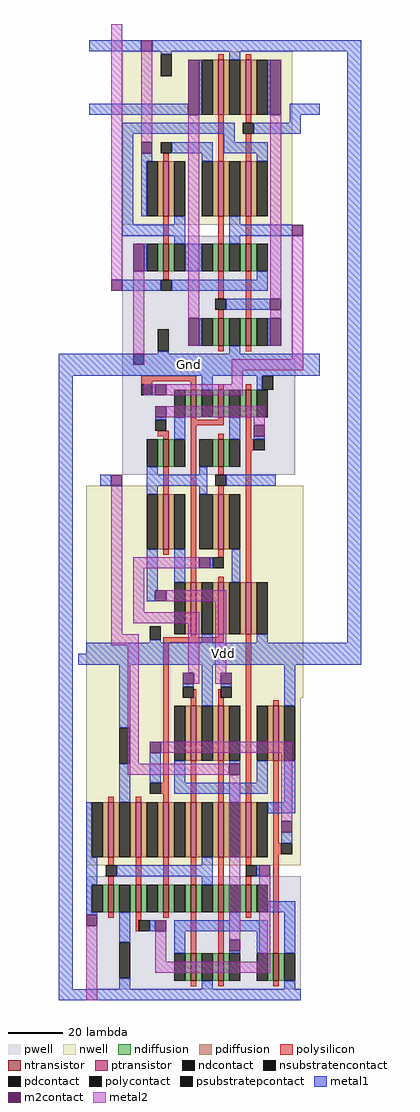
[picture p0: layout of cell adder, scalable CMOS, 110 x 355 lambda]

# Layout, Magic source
magic
tech scmos
<< pwell >>
rect -24 -37 39 7
<< nwell >>
rect -37 -118 42 -41
<< polysilicon >>
rect -9 -109 -7 -96
rect 21 -109 23 -96
<< metal1 >>
rect 48 117 63 121
rect -47 -1 48 7
rect -47 -224 -42 -1
rect 58 -98 63 117
rect -37 -106 63 -98
rect -47 -228 -38 -224
<< metal2 >>
rect 38 5 42 11
rect 16 1 42 5
rect 16 -5 20 1
rect -28 -99 -18 -95
rect -22 -110 -18 -99
rect 0 -109 4 -93
rect 10 -110 14 -94
use addUnitOne  addUnitOne_0
transform 1 0 15 0 1 52
box -51 -49 33 75
use addUnitTwo  addUnitTwo_0
transform 1 0 12 0 1 -39
box -44 -66 20 42
use addUnitThree  addUnitThree_0
transform 1 0 17 0 1 -154
box -57 -74 24 52
<< labels >>
rlabel metal1 -47 -1 48 7 1 Gnd
rlabel metal1 -37 -106 63 -98 1 Vdd
<< end >>

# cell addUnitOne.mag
magic
tech scmos
<< pwell >>
rect -39 -45 23 -2
<< nwell >>
rect -39 2 23 65
<< polysilicon >>
rect -4 62 -2 64
rect 6 62 8 64
rect -24 25 -22 28
rect -4 25 -2 42
rect 6 39 8 42
rect 6 25 8 35
rect -24 -5 -22 5
rect -4 -5 -2 5
rect 6 -5 8 5
rect -24 -18 -22 -15
rect -4 -25 -2 -15
rect -4 -32 -2 -29
rect 6 -32 8 -15
rect -4 -44 -2 -42
rect 6 -44 8 -42
<< ndiffusion >>
rect -26 -15 -24 -5
rect -22 -15 -20 -5
rect -6 -15 -4 -5
rect -2 -15 0 -5
rect 4 -15 6 -5
rect 8 -15 10 -5
rect -6 -42 -4 -32
rect -2 -42 0 -32
rect 4 -42 6 -32
rect 8 -42 10 -32
<< pdiffusion >>
rect -6 42 -4 62
rect -2 42 0 62
rect 4 42 6 62
rect 8 42 10 62
rect -26 5 -24 25
rect -22 5 -20 25
rect -6 5 -4 25
rect -2 5 0 25
rect 4 5 6 25
rect 8 5 10 25
<< metal1 >>
rect -51 65 -32 69
rect -28 65 33 69
rect -25 64 -21 65
rect 0 62 4 65
rect -51 42 -15 46
rect -11 42 -10 62
rect 14 42 15 62
rect 22 42 33 46
rect 22 39 26 42
rect -39 35 2 39
rect 9 35 26 39
rect -39 2 -35 35
rect -2 32 2 35
rect -21 28 -6 32
rect -2 28 14 32
rect -32 25 -28 28
rect -10 25 -6 28
rect 10 25 14 28
rect -32 5 -30 25
rect -20 2 -16 5
rect -39 -2 -16 2
rect -20 -5 -16 -2
rect 0 2 4 5
rect 0 -2 23 2
rect 0 -5 4 -2
rect -31 -15 -30 -5
rect -16 -15 -10 -5
rect 10 -18 14 -15
rect -39 -22 -25 -18
rect -21 -22 14 -18
rect -1 -29 15 -25
rect -11 -42 -10 -32
rect 14 -42 15 -32
rect -26 -45 -22 -44
rect 0 -45 4 -42
rect -51 -49 -35 -45
rect -31 -49 33 -45
<< metal2 >>
rect -43 -18 -39 75
rect -32 32 -28 65
rect -35 -45 -31 -15
rect -15 -32 -11 42
rect 15 -25 19 42
rect 15 -32 19 -29
rect 23 -49 27 -2
<< ntransistor >>
rect -24 -15 -22 -5
rect -4 -15 -2 -5
rect 6 -15 8 -5
rect -4 -42 -2 -32
rect 6 -42 8 -32
<< ptransistor >>
rect -4 42 -2 62
rect 6 42 8 62
rect -24 5 -22 25
rect -4 5 -2 25
rect 6 5 8 25
<< polycontact >>
rect -25 28 -21 32
rect 5 35 9 39
rect -25 -22 -21 -18
rect -5 -29 -1 -25
<< ndcontact >>
rect -30 -15 -26 -5
rect -20 -15 -16 -5
rect -10 -15 -6 -5
rect 0 -15 4 -5
rect 10 -15 14 -5
rect -10 -42 -6 -32
rect 0 -42 4 -32
rect 10 -42 14 -32
<< pdcontact >>
rect -10 42 -6 62
rect 0 42 4 62
rect 10 42 14 62
rect -30 5 -26 25
rect -20 5 -16 25
rect -10 5 -6 25
rect 0 5 4 25
rect 10 5 14 25
<< m2contact >>
rect -32 65 -28 69
rect -15 42 -11 62
rect 15 42 19 62
rect -32 28 -28 32
rect 23 -2 27 2
rect -35 -15 -31 -5
rect -43 -22 -39 -18
rect 15 -29 19 -25
rect -15 -42 -11 -32
rect 15 -42 19 -32
rect -35 -49 -31 -45
<< psubstratepcontact >>
rect -26 -44 -22 -36
<< nsubstratencontact >>
rect -25 56 -21 64
<< labels >>
rlabel metal1 -28 65 33 69 1 Vdd
rlabel metal2 -43 -18 -39 75 1 B
rlabel metal1 -31 -49 33 -45 1 Gnd
rlabel metal1 22 35 26 46 1 AddIn
rlabel metal1 -51 42 -15 46 1 AddOut
rlabel metal2 23 -49 27 -2 1 BxnorAdd
<< end >>

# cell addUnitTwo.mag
magic
tech scmos
<< pwell >>
rect -30 2 19 38
<< nwell >>
rect -30 -59 19 -2
<< polysilicon >>
rect -29 36 -9 38
rect -29 35 -25 36
rect -11 33 -9 36
rect -1 33 1 35
rect 9 33 11 35
rect -11 22 -9 23
rect -1 22 1 23
rect -11 20 1 22
rect -23 16 -19 18
rect -21 15 -19 16
rect -21 -5 -19 5
rect -21 -27 -19 -25
rect -11 -37 -9 20
rect -1 15 1 17
rect 9 15 11 23
rect 9 11 12 15
rect -1 2 1 5
rect -1 -5 1 -2
rect -1 -28 1 -25
rect -1 -37 1 -35
rect 9 -37 11 11
rect -11 -57 -9 -56
rect -1 -57 1 -56
rect -21 -59 1 -57
rect -21 -63 -19 -59
rect 9 -63 11 -56
<< ndiffusion >>
rect -13 23 -11 33
rect -9 23 -7 33
rect -3 23 -1 33
rect 1 23 3 33
rect 7 23 9 33
rect 11 23 13 33
rect -23 5 -21 15
rect -19 5 -17 15
rect -3 5 -1 15
rect 1 5 3 15
<< pdiffusion >>
rect -23 -25 -21 -5
rect -19 -25 -17 -5
rect -3 -25 -1 -5
rect 1 -25 3 -5
rect -13 -56 -11 -37
rect -9 -56 -7 -37
rect -3 -56 -1 -37
rect 1 -56 3 -37
rect 7 -56 9 -37
rect 11 -56 13 -37
<< metal1 >>
rect -34 38 19 42
rect -25 31 -24 35
rect -7 33 -3 38
rect 13 33 15 38
rect -24 22 -20 23
rect -17 15 -13 23
rect 3 15 7 23
rect 12 15 16 16
rect -27 2 -23 5
rect -8 2 -5 5
rect -44 -2 -40 2
rect -27 -2 -5 2
rect 2 -2 20 2
rect -27 -5 -23 -2
rect -8 -5 -5 -2
rect -27 -40 -23 -25
rect -17 -37 -13 -25
rect -4 -32 -3 -28
rect 4 -37 7 -25
rect -27 -44 -24 -40
rect -26 -59 -22 -58
rect -7 -59 -3 -56
rect 13 -59 17 -56
rect -34 -63 19 -59
<< metal2 >>
rect 4 35 8 42
rect -28 31 -24 35
rect -20 31 8 35
rect -20 23 16 27
rect 12 20 16 23
rect -40 -56 -36 -2
rect -32 -32 -8 -28
rect -32 -48 -28 -32
rect -20 -44 2 -40
rect -32 -52 -8 -48
rect -40 -60 -30 -56
rect -34 -63 -30 -60
rect -12 -63 -8 -52
rect -2 -63 2 -44
<< ntransistor >>
rect -11 23 -9 33
rect -1 23 1 33
rect 9 23 11 33
rect -21 5 -19 15
rect -1 5 1 15
<< ptransistor >>
rect -21 -25 -19 -5
rect -1 -25 1 -5
rect -11 -56 -9 -37
rect -1 -56 1 -37
rect 9 -56 11 -37
<< polycontact >>
rect -29 31 -25 35
rect -24 18 -20 22
rect 12 11 16 15
rect -2 -2 2 2
rect -3 -32 1 -28
<< ndcontact >>
rect -17 23 -13 33
rect -7 23 -3 33
rect 3 23 7 33
rect 13 23 17 33
rect -27 5 -23 15
rect -17 5 -13 15
rect -8 5 -3 15
rect 3 5 7 15
<< pdcontact >>
rect -27 -25 -23 -5
rect -17 -25 -13 -5
rect -8 -25 -3 -5
rect 3 -25 7 -5
rect -17 -56 -13 -37
rect -7 -56 -3 -37
rect 3 -56 7 -37
rect 13 -56 17 -37
<< m2contact >>
rect -24 31 -20 35
rect -24 23 -20 27
rect 12 16 16 20
rect -40 -2 -36 2
rect -8 -32 -4 -28
rect -24 -44 -20 -40
<< psubstratepcontact >>
rect 15 33 19 38
<< nsubstratencontact >>
rect -26 -58 -22 -53
<< labels >>
rlabel polysilicon -1 -5 1 -2 1 Cin
rlabel metal1 -27 -2 -5 2 1 X
rlabel metal1 -34 38 19 42 5 Gnd
rlabel metal1 -34 -63 19 -59 1 Vdd
rlabel space -32 -66 -28 35 3 BxnorAdd
rlabel metal2 -20 23 16 27 1 A
rlabel metal2 4 31 8 42 1 BxnorAdd
rlabel metal1 -44 -2 -40 2 3 Cout
<< end >>

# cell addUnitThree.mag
magic
tech scmos
<< pwell >>
rect -54 -70 24 -29
<< nwell >>
rect -54 -25 24 36
<< polysilicon >>
rect -26 5 -24 52
rect -15 36 -14 39
rect -16 33 -14 36
rect -6 36 -5 39
rect -6 33 -4 36
rect -27 1 -24 5
rect -46 -2 -44 0
rect -36 -2 -34 0
rect -26 -2 -24 1
rect -16 -2 -14 13
rect -6 -2 -4 13
rect 4 -2 6 52
rect 14 33 16 35
rect 14 -17 16 13
rect 14 -21 17 -17
rect -46 -25 -44 -22
rect -46 -32 -44 -29
rect -36 -32 -34 -22
rect -26 -32 -24 -22
rect -16 -32 -14 -22
rect -6 -32 -4 -22
rect 4 -25 6 -22
rect 4 -32 6 -29
rect -46 -44 -44 -42
rect -36 -45 -34 -42
rect -26 -44 -24 -42
rect -36 -49 -35 -45
rect -16 -57 -14 -42
rect -6 -57 -4 -42
rect 4 -44 6 -42
rect 14 -57 16 -21
rect -16 -69 -14 -67
rect -6 -69 -4 -67
rect 14 -69 16 -67
<< ndiffusion >>
rect -48 -42 -46 -32
rect -44 -42 -42 -32
rect -38 -42 -36 -32
rect -34 -42 -32 -32
rect -28 -42 -26 -32
rect -24 -42 -22 -32
rect -18 -42 -16 -32
rect -14 -42 -12 -32
rect -8 -42 -6 -32
rect -4 -42 -2 -32
rect 2 -42 4 -32
rect 6 -42 8 -32
rect -18 -67 -16 -57
rect -14 -67 -12 -57
rect -8 -67 -6 -57
rect -4 -67 -2 -57
rect 12 -67 14 -57
rect 16 -67 18 -57
<< pdiffusion >>
rect -18 13 -16 33
rect -14 13 -12 33
rect -8 13 -6 33
rect -4 13 -2 33
rect 12 13 14 33
rect 16 13 18 33
rect -48 -22 -46 -2
rect -44 -22 -42 -2
rect -38 -22 -36 -2
rect -34 -22 -32 -2
rect -28 -22 -26 -2
rect -24 -22 -22 -2
rect -18 -22 -16 -2
rect -14 -22 -12 -2
rect -8 -22 -6 -2
rect -4 -22 -2 -2
rect 2 -22 4 -2
rect 6 -22 8 -2
<< metal1 >>
rect -57 48 24 52
rect -42 25 -38 48
rect -19 40 -15 41
rect -12 33 -8 48
rect -5 40 -1 41
rect 18 33 22 48
rect -42 -2 -38 12
rect -31 5 -27 16
rect -22 5 -18 13
rect -2 12 2 13
rect 8 5 12 13
rect -22 1 12 5
rect -2 -2 2 1
rect 18 -2 22 13
rect -54 -22 -52 -2
rect 12 -6 22 -2
rect 17 -17 21 -13
rect -54 -32 -50 -22
rect -12 -25 -8 -22
rect -43 -29 -8 -25
rect 8 -29 9 -25
rect -12 -32 -8 -29
rect -54 -42 -52 -32
rect 12 -42 22 -38
rect -54 -43 -50 -42
rect -42 -53 -38 -42
rect -2 -45 2 -42
rect -31 -49 -29 -45
rect -22 -49 12 -45
rect -42 -70 -38 -66
rect -22 -57 -18 -49
rect -2 -57 2 -56
rect 8 -57 12 -49
rect 18 -57 22 -42
rect -12 -70 -8 -67
rect 18 -70 22 -67
rect -55 -74 24 -70
<< metal2 >>
rect -39 12 -35 52
rect -17 45 -13 52
rect -15 41 -13 45
rect -7 45 -3 52
rect -7 41 -5 45
rect -27 16 21 20
rect -39 8 -2 12
rect -54 -74 -50 -47
rect -29 -60 -25 -49
rect -2 -52 2 8
rect 17 -9 21 16
rect 9 -60 13 -29
rect -29 -64 13 -60
<< ntransistor >>
rect -46 -42 -44 -32
rect -36 -42 -34 -32
rect -26 -42 -24 -32
rect -16 -42 -14 -32
rect -6 -42 -4 -32
rect 4 -42 6 -32
rect -16 -67 -14 -57
rect -6 -67 -4 -57
rect 14 -67 16 -57
<< ptransistor >>
rect -16 13 -14 33
rect -6 13 -4 33
rect 14 13 16 33
rect -46 -22 -44 -2
rect -36 -22 -34 -2
rect -26 -22 -24 -2
rect -16 -22 -14 -2
rect -6 -22 -4 -2
rect 4 -22 6 -2
<< polycontact >>
rect -19 36 -15 40
rect -5 36 -1 40
rect -31 1 -27 5
rect 17 -21 21 -17
rect -47 -29 -43 -25
rect 4 -29 8 -25
rect -35 -49 -31 -45
<< ndcontact >>
rect -52 -42 -48 -32
rect -42 -42 -38 -32
rect -32 -42 -28 -32
rect -22 -42 -18 -32
rect -12 -42 -8 -32
rect -2 -42 2 -32
rect 8 -42 12 -32
rect -22 -67 -18 -57
rect -12 -67 -8 -57
rect -2 -67 2 -57
rect 8 -67 12 -57
rect 18 -67 22 -57
<< pdcontact >>
rect -22 13 -18 33
rect -12 13 -8 33
rect -2 13 2 33
rect 8 13 12 33
rect 18 13 22 33
rect -52 -22 -48 -2
rect -42 -22 -38 -2
rect -32 -22 -28 -2
rect -22 -22 -18 -2
rect -12 -22 -8 -2
rect -2 -22 2 -2
rect 8 -22 12 -2
<< m2contact >>
rect -19 41 -15 45
rect -5 41 -1 45
rect -31 16 -27 20
rect -2 8 2 12
rect 17 -13 21 -9
rect 9 -29 13 -25
rect -54 -47 -50 -43
rect -29 -49 -25 -45
rect -2 -56 2 -52
<< psubstratepcontact >>
rect -42 -66 -38 -53
<< nsubstratencontact >>
rect -42 12 -38 25
<< labels >>
rlabel polysilicon 4 -2 6 35 1 A
rlabel metal1 -55 -74 24 -70 1 Gnd
rlabel metal2 -54 -74 -50 -47 3 sum
rlabel metal1 -57 48 24 52 5 Vdd
rlabel metal2 -7 45 -3 52 5 X
rlabel metal2 -17 45 -13 52 5 Cin
rlabel metal2 -39 8 -35 52 1 Cout
rlabel polysilicon -26 -2 -24 52 1 BxnorAdd
<< end >>
